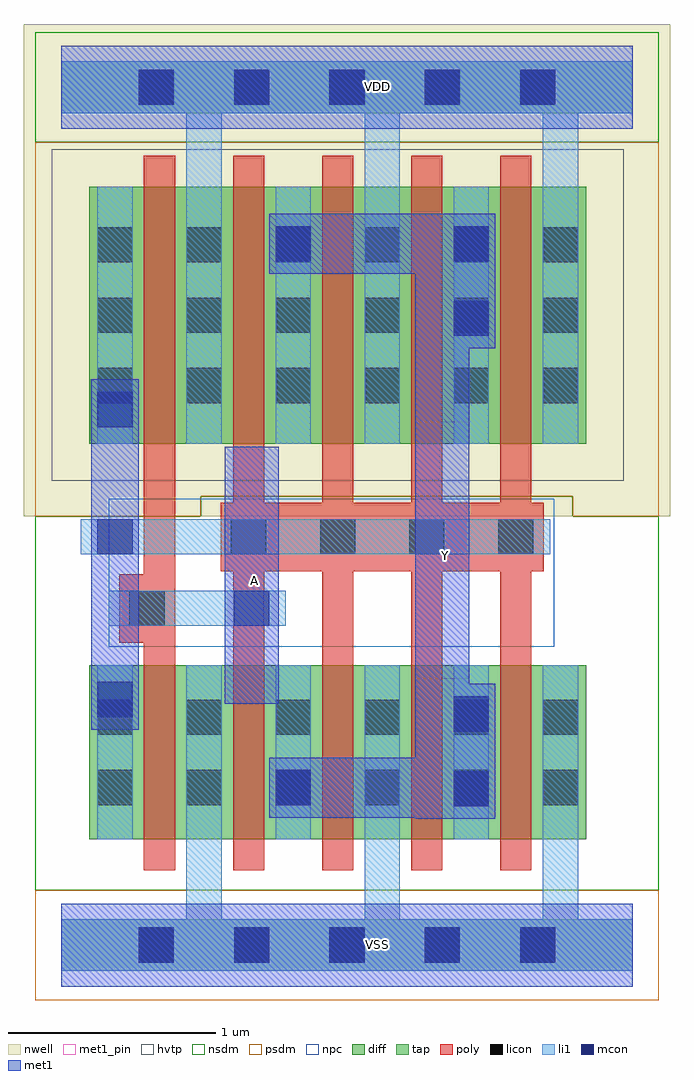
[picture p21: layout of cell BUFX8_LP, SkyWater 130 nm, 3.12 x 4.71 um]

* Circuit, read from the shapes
.subckt BUFX8_LP A VDD VSS Y
XM1 VSS A n1 VSS sky130_fd_pr__nfet_01v8 w=0.84 l=0.15
XM2 Y n1 VSS VSS sky130_fd_pr__nfet_01v8 w=0.84 l=0.15 m=4
XM3 VDD A n1 VDD sky130_fd_pr__pfet_01v8_hvt w=1.24 l=0.15
XM4 Y n1 VDD VDD sky130_fd_pr__pfet_01v8_hvt w=1.24 l=0.15 m=4
.ends

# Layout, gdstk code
import gdstk
lib = gdstk.Library(unit=1e-6, precision=1e-09)
def R(c, l, rs):  # rectangles x0, y0, x1, y1
    for r in rs: c.add(gdstk.rectangle(r[:2], r[2:], *l))
def A(c, l, x, y, w, h, nx, ny, dx, dy):  # array of equal rectangles
    R(c, l, [(x+i*dx, y+j*dy, x+i*dx+w, y+j*dy+h) for i in range(nx) for j in range(ny)])
def P(c, l, *ps):  # polygons
    for p in ps: c.add(gdstk.Polygon(p, *l))
nwell = (64, 20)
diff = (65, 20)
tap = (65, 44)
poly = (66, 20)
licon = (66, 44)
li1 = (67, 20)
mcon = (67, 44)
met1_pin = (68, 16)
met1 = (68, 20)
hvtp = (78, 44)
nsdm = (93, 44)
psdm = (94, 20)
npc = (95, 20)

l1m1_c_cdns_750721840975 = lib.new_cell('L1M1_C_CDNS_750721840975')
R(l1m1_c_cdns_750721840975, li1, [(-0.085,-0.345,0.085,0.345)])
R(l1m1_c_cdns_750721840975, mcon, [(-0.085,-0.265,0.085,-0.095), (-0.085,0.095,0.085,0.265)])
R(l1m1_c_cdns_750721840975, met1, [(-0.115,-0.325,0.115,0.325)])

pyl1con_c_cdns_750721840 = lib.new_cell('PYL1CON_C_CDNS_750721840972')
R(pyl1con_c_cdns_750721840, poly, [(-0.135,-0.165,0.135,0.165)])
R(pyl1con_c_cdns_750721840, licon, [(-0.085,-0.085,0.085,0.085)])
R(pyl1con_c_cdns_750721840, npc, [(-0.185,-0.185,0.185,0.185)])

l1m1_c_cdns_750721840971 = lib.new_cell('L1M1_C_CDNS_750721840971')
R(l1m1_c_cdns_750721840971, li1, [(-0.085,-0.165,0.085,0.165)])
R(l1m1_c_cdns_750721840971, mcon, [(-0.085,-0.085,0.085,0.085)])
R(l1m1_c_cdns_750721840971, met1, [(-0.115,-0.145,0.115,0.145)])

l1m1_c_cdns_750721840973 = lib.new_cell('L1M1_C_CDNS_750721840973')
R(l1m1_c_cdns_750721840973, li1, [(-0.165,-0.085,0.165,0.085)])
R(l1m1_c_cdns_750721840973, mcon, [(-0.085,-0.085,0.085,0.085)])
R(l1m1_c_cdns_750721840973, met1, [(-0.115,-0.145,0.115,0.145)])

bufx8_lp = lib.new_cell('BUFX8_LP')
R(bufx8_lp, nwell, [(-0.18,2.07,2.94,4.305), (-0.045,2.24,0.955,3.84), (0.595,2.24,2.715,3.84), (-0.18,3.875,2.94,4.445)])
A(bufx8_lp, diff, 0.4, 0.51, 0.15, 0.84, 5, 1, 0.43, 0)
A(bufx8_lp, diff, 0.98, 0.51, 0.28, 0.84, 3, 1, 0.43, 0)
A(bufx8_lp, diff, 0.4, 2.42, 0.15, 1.24, 5, 1, 0.43, 0)
A(bufx8_lp, diff, 0.98, 2.42, 0.28, 1.24, 3, 1, 0.43, 0)
R(bufx8_lp, diff, [(0.135,0.51,0.4,1.35), (0.55,0.51,0.775,1.35), (0.775,0.51,0.83,1.35), (2.27,0.51,2.535,1.35), (0.135,2.42,0.4,3.66), (0.55,2.42,0.775,3.66), (0.775,2.42,0.83,3.66), (2.27,2.42,2.535,3.66)])
A(bufx8_lp, poly, 0.4, 0.36, 0.15, 0.055, 5, 2, 0.43, 1.085)
A(bufx8_lp, poly, 0.4, 0.415, 0.15, 0.095, 5, 2, 0.43, 0.935)
A(bufx8_lp, poly, 0.4, 0.51, 0.15, 0.84, 5, 1, 0.43, 0)
A(bufx8_lp, poly, 0.83, 1.44, 0.15, 0.885, 3, 1, 0.43, 0)
A(bufx8_lp, poly, 0.4, 2.27, 0.15, 0.055, 5, 2, 0.43, 1.485)
A(bufx8_lp, poly, 0.4, 2.325, 0.15, 0.095, 5, 2, 0.43, 1.335)
A(bufx8_lp, poly, 0.4, 2.42, 0.15, 1.24, 5, 1, 0.43, 0)
R(bufx8_lp, poly, [(2.12,1.445,2.27,2.325), (0.4,1.5,0.55,2.325), (0.77,1.805,2.33,2.135)])
A(bufx8_lp, licon, 0.375, -0.085, 0.17, 0.17, 5, 2, 0.46, 4.14)
A(bufx8_lp, licon, 0.175, 0.675, 0.17, 0.17, 6, 2, 0.43, 0.34)
A(bufx8_lp, licon, 0.175, 2.615, 0.17, 0.17, 6, 3, 0.43, 0.34)
A(bufx8_lp, li1, 0.175, 0.51, 0.17, 0.84, 6, 1, 0.43, 0)
A(bufx8_lp, li1, 0.175, 2.42, 0.17, 1.24, 6, 1, 0.43, 0)
A(bufx8_lp, li1, 0.605, 3.55, 0.17, 0.67, 3, 1, 0.86, 0)
R(bufx8_lp, li1, [(0.605,-0.085,0.775,0.945), (1.465,-0.085,1.635,1.155), (2.325,-0.085,2.495,0.945)])
A(bufx8_lp, mcon, 0.375, -0.085, 0.17, 0.17, 5, 2, 0.46, 4.14)
R(bufx8_lp, met1_pin, [(0.79,1.165,1.05,2.405), (1.71,1.285,1.97,2.525)])
R(bufx8_lp, hvtp, [(-0.045,2.24,0.955,3.84), (0.595,2.24,2.715,3.84)])
R(bufx8_lp, nsdm, [(-0.005,0.38,0.785,1.48), (0.765,0.38,2.675,1.48), (-0.125,3.875,2.885,4.405), (-0.125,3.93,2.885,4.35)])
P(bufx8_lp, nsdm, [(2.885,2.07),(2.47,2.07),(2.47,2.165),(0.675,2.165),(0.675,2.07),(-0.125,2.07),(-0.125,0.265),(2.885,0.265)])
R(bufx8_lp, psdm, [(-0.125,-0.265,2.885,0.265), (-0.125,-0.21,2.885,0.21), (-0.005,2.29,0.785,3.79), (0.765,2.29,2.675,3.79)])
P(bufx8_lp, psdm, [(2.885,3.875),(-0.125,3.875),(-0.125,2.07),(0.675,2.07),(0.675,2.165),(2.47,2.165),(2.47,2.07),(2.885,2.07)])
R(bufx8_lp, npc, [(0.23,1.44,2.38,2.155)])
bufx8_lp.add(gdstk.FlexPath([(2.675,0),(0,0)], 0.25, ends=(0.085, 0), simple_path=True, layer=67, datatype=20))  # li1
bufx8_lp.add(gdstk.FlexPath([(0.26,1.97),(2.36,1.97)], 0.17, ends="flush", simple_path=True, layer=67, datatype=20))  # li1
bufx8_lp.add(gdstk.FlexPath([(2.675,4.14),(0,4.14)], 0.25, ends=(0.085, 0), simple_path=True, layer=67, datatype=20))  # li1
bufx8_lp.add(gdstk.FlexPath([(0.855,1.625),(0.23,1.625)], 0.17, ends="flush", simple_path=True, layer=67, datatype=20))  # li1
bufx8_lp.add(gdstk.FlexPath([(0,4.14),(2.76,4.14)], 0.4, ends="flush", simple_path=True, layer=68, datatype=16))  # met1_pin
bufx8_lp.add(gdstk.FlexPath([(0,0),(2.76,0)], 0.4, ends="flush", simple_path=True, layer=68, datatype=16))  # met1_pin
bufx8_lp.add(gdstk.FlexPath([(0,4.14),(2.76,4.14)], 0.4, ends="flush", simple_path=True, layer=68, datatype=20))  # met1
bufx8_lp.add(gdstk.FlexPath([(1.84,3.53),(1.84,0.61)], 0.26, ends="flush", simple_path=True, layer=68, datatype=20))  # met1
bufx8_lp.add(gdstk.FlexPath([(0.92,1.165),(0.92,2.405)], 0.26, ends="flush", simple_path=True, layer=68, datatype=20))  # met1
bufx8_lp.add(gdstk.FlexPath([(1.84,3.385),(1.12,3.385)], 0.29, ends="flush", simple_path=True, layer=68, datatype=20))  # met1
bufx8_lp.add(gdstk.FlexPath([(0,0),(2.76,0)], 0.4, ends="flush", simple_path=True, layer=68, datatype=20))  # met1
bufx8_lp.add(gdstk.FlexPath([(0.26,1.185),(0.26,2.73)], 0.23, ends=(0.115, 0), simple_path=True, layer=68, datatype=20))  # met1
bufx8_lp.add(gdstk.FlexPath([(1.84,0.76),(1.12,0.76)], 0.29, ends="flush", simple_path=True, layer=68, datatype=20))  # met1
bufx8_lp.add(gdstk.FlexPath([(0,4.14),(2.76,4.14)], 0.25, ends="flush", simple_path=True, layer=65, datatype=44))  # tap
bufx8_lp.add(gdstk.FlexPath([(0,0),(2.76,0)], 0.25, ends="flush", simple_path=True, layer=65, datatype=44))  # tap
bufx8_lp.add(gdstk.Reference(l1m1_c_cdns_750721840975, (1.98,0.935)))
bufx8_lp.add(gdstk.Reference(l1m1_c_cdns_750721840975, (1.98,3.205)))
bufx8_lp.add(gdstk.Reference(pyl1con_c_cdns_750721840, (2.195,1.97), x_reflection=True))
bufx8_lp.add(gdstk.Reference(pyl1con_c_cdns_750721840, (1.765,1.97), x_reflection=True))
bufx8_lp.add(gdstk.Reference(pyl1con_c_cdns_750721840, (0.415,1.625), x_reflection=True))
bufx8_lp.add(gdstk.Reference(pyl1con_c_cdns_750721840, (0.905,1.97), x_reflection=True))
bufx8_lp.add(gdstk.Reference(pyl1con_c_cdns_750721840, (1.335,1.97), x_reflection=True))
bufx8_lp.add(gdstk.Reference(l1m1_c_cdns_750721840971, (1.12,3.385)))
bufx8_lp.add(gdstk.Reference(l1m1_c_cdns_750721840971, (1.12,0.76)))
bufx8_lp.add(gdstk.Reference(l1m1_c_cdns_750721840971, (0.26,2.585)))
bufx8_lp.add(gdstk.Reference(l1m1_c_cdns_750721840971, (0.26,1.185)))
bufx8_lp.add(gdstk.Reference(l1m1_c_cdns_750721840973, (0.26,1.97)))
bufx8_lp.add(gdstk.Reference(l1m1_c_cdns_750721840973, (0.92,1.625), x_reflection=True))
bufx8_lp.add(gdstk.Label('VDD', (1.525,4.145), layer=68, texttype=5))
bufx8_lp.add(gdstk.Label('A', (0.935,1.76), layer=68, texttype=5))
bufx8_lp.add(gdstk.Label('Y', (1.855,1.88), layer=68, texttype=5))
bufx8_lp.add(gdstk.Label('VSS', (1.525,0.005), layer=68, texttype=5))

lib.write_gds('BUFX8_LP.gds')
